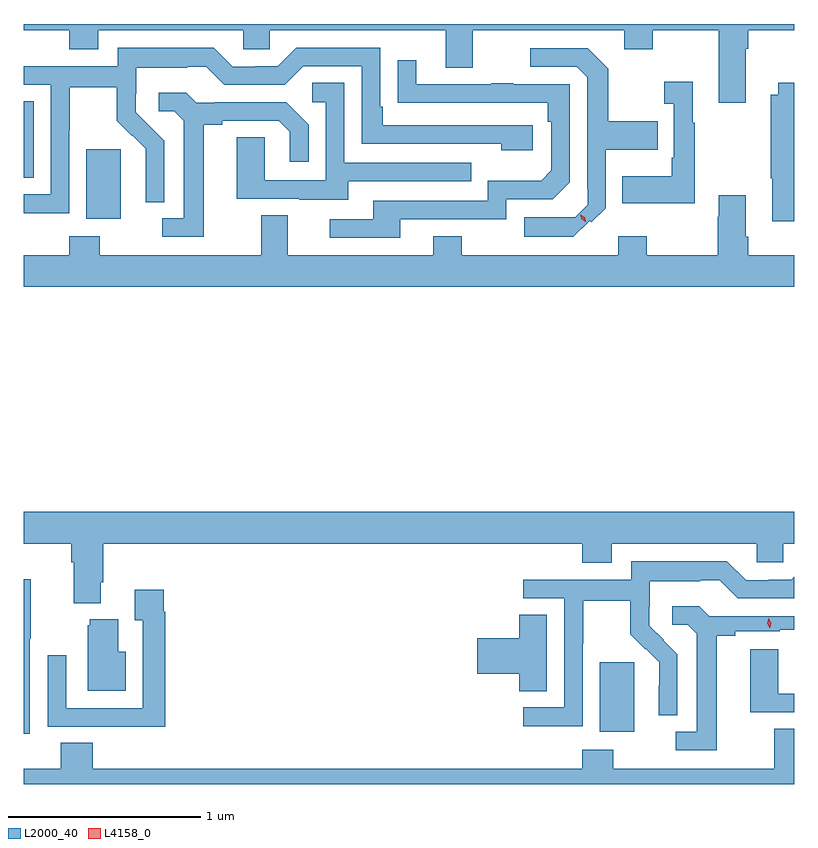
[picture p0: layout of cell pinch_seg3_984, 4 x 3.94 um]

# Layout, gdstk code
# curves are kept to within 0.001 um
import gdstk
lib = gdstk.Library(unit=1e-6, precision=1e-09)
def R(c, l, rs):  # rectangles x0, y0, x1, y1
    for r in rs: c.add(gdstk.rectangle(r[:2], r[2:], *l))
def P(c, l, *ps):  # polygons
    for p in ps: c.add(gdstk.Polygon(p, *l))
L2000_40 = (2000, 40)
L4158_0 = (4158, 0)

pinch_seg3_984 = lib.new_cell('pinch_seg3_984')
R(pinch_seg3_984, L2000_40, [(508.757,745.226,508.936,745.587), (506.093,747.89,506.272,748.251), (505.767,748.102,505.819,748.499)])
P(pinch_seg3_984, L2000_40, [(505.767,748.868),(506.003,748.868),(506.003,748.769),(506.155,748.769),(506.155,748.868),(506.907,748.868),(506.907,748.77),(507.045,748.77),(507.045,748.868),(507.959,748.868),(507.959,748.674),(508.099,748.674),(508.099,748.868),(508.883,748.868),(508.883,748.769),(509.031,748.769),(509.031,748.868),(509.375,748.868),(509.375,748.491),(509.515,748.491),(509.515,748.772),(509.528,748.772),(509.528,748.868),(509.767,748.868),(509.767,748.9),(505.767,748.9)],
  [(506.004,748.348),(506.007,748.348),(506.007,748.572),(506.251,748.572),(506.251,748.397),(506.328,748.32),(506.331,748.323),(506.402,748.253),(506.402,748.13),(506.4,748.13),(506.4,747.976),(506.496,747.976),(506.496,748.294),(506.35,748.442),(506.35,748.539),(506.352,748.539),(506.352,748.673),(506.615,748.673),(506.615,748.677),(506.715,748.677),(506.808,748.584),(507.123,748.584),(507.219,748.68),(507.522,748.68),(507.522,748.278),(508.247,748.278),(508.247,748.244),(508.408,748.244),(508.408,748.374),(507.631,748.374),(507.631,748.471),(507.618,748.471),(507.618,748.776),(507.183,748.776),(507.087,748.68),(506.969,748.68),(506.969,748.677),(506.853,748.677),(506.753,748.777),(506.256,748.777),(506.256,748.68),(505.767,748.68),(505.767,748.584),(505.908,748.584),(505.908,748.017),(505.767,748.017),(505.767,747.919),(506.004,747.919)],
  [(508.704,747.879),(508.713,747.87),(508.788,747.945),(508.788,748.247),(509.057,748.247),(509.057,748.395),(508.801,748.395),(508.801,748.667),(508.695,748.773),(508.395,748.773),(508.395,748.677),(508.638,748.677),(508.692,748.623),(508.692,748.045),(508.695,748.045),(508.695,747.963),(508.629,747.897),(508.365,747.897),(508.365,747.795),(508.62,747.795)],
  [(507.721,747.888),(508.272,747.888),(508.272,747.99),(508.512,747.99),(508.602,748.08),(508.602,748.587),(508.307,748.587),(508.307,748.592),(508.195,748.592),(508.195,748.587),(507.805,748.587),(507.805,748.711),(507.709,748.711),(507.709,748.492),(508.486,748.491),(508.486,748.394),(508.506,748.394),(508.506,748.14),(508.453,748.087),(508.176,748.087),(508.176,747.984),(507.581,747.984),(507.581,747.888),(507.357,747.888),(507.357,747.792),(507.721,747.792)],
  [(509.251,748.387),(509.239,748.387),(509.239,748.6),(509.091,748.6),(509.091,748.487),(509.142,748.487),(509.142,748.207),(509.13,748.207),(509.13,748.111),(508.873,748.111),(508.873,747.971),(509.251,747.971)],
  [(507.451,748.083),(508.091,748.083),(508.091,748.179),(507.432,748.179),(507.432,748.595),(507.264,748.595),(507.264,748.494),(507.336,748.494),(507.336,748.089),(507.018,748.089),(507.018,748.313),(506.873,748.313),(506.873,747.993),(507.197,747.993),(507.197,747.989),(507.451,747.989)],
  [(509.767,748.594),(509.684,748.594),(509.684,748.534),(509.644,748.534),(509.644,748.099),(509.651,748.099),(509.651,747.876),(509.767,747.876)],
  [(506.701,748.376),(506.797,748.376),(506.797,748.398),(507.092,748.398),(507.149,748.341),(507.149,748.185),(507.246,748.185),(507.246,748.378),(507.13,748.494),(506.758,748.494),(506.758,748.491),(506.664,748.491),(506.612,748.543),(506.469,748.543),(506.469,748.446),(506.55,748.446),(506.597,748.399),(506.597,747.891),(506.487,747.891),(506.487,747.795),(506.701,747.795)],
  [(509.767,747.7),(509.528,747.7),(509.528,747.796),(509.515,747.796),(509.515,748.012),(509.375,748.012),(509.375,747.899),(509.368,747.899),(509.368,747.7),(509.001,747.7),(509.001,747.799),(508.853,747.799),(508.853,747.7),(508.041,747.7),(508.041,747.799),(507.893,747.799),(507.893,747.7),(507.139,747.7),(507.139,747.908),(506.999,747.908),(506.999,747.7),(506.163,747.7),(506.163,747.799),(506.003,747.799),(506.003,747.7),(505.767,747.7),(505.767,747.536),(509.767,747.536)],
  [(506.167,746.002),(506.18,746.002),(506.18,746.204),(508.667,746.204),(508.667,746.105),(508.819,746.105),(508.819,746.204),(509.571,746.204),(509.571,746.106),(509.709,746.106),(509.709,746.204),(509.767,746.204),(509.767,746.368),(505.767,746.368),(505.767,746.204),(506.015,746.204),(506.015,746.108),(506.027,746.108),(506.027,745.895),(506.167,745.895)],
  [(508.668,745.684),(508.671,745.684),(508.671,745.908),(508.915,745.908),(508.915,745.733),(508.992,745.656),(508.995,745.659),(509.066,745.589),(509.066,745.466),(509.064,745.466),(509.064,745.312),(509.16,745.312),(509.16,745.63),(509.014,745.778),(509.014,745.875),(509.016,745.875),(509.016,746.009),(509.279,746.009),(509.279,746.013),(509.379,746.013),(509.472,745.92),(509.767,745.92),(509.767,746.032),(509.751,746.016),(509.633,746.016),(509.633,746.013),(509.517,746.013),(509.417,746.113),(508.92,746.113),(508.92,746.016),(508.359,746.016),(508.359,745.92),(508.572,745.92),(508.572,745.353),(508.359,745.353),(508.359,745.255),(508.668,745.255)],
  [(505.8,745.711),(505.803,745.711),(505.803,746.018),(505.767,746.018),(505.767,745.218),(505.8,745.218)],
  [(506.501,745.85),(506.494,745.85),(506.494,745.963),(506.345,745.963),(506.345,745.807),(506.385,745.807),(506.385,745.35),(505.989,745.35),(505.989,745.624),(505.893,745.624),(505.893,745.254),(506.209,745.254),(506.209,745.253),(506.501,745.253)],
  [(509.365,745.725),(509.461,745.725),(509.461,745.749),(509.691,745.749),(509.691,745.757),(509.767,745.757),(509.767,745.827),(509.326,745.827),(509.274,745.879),(509.133,745.879),(509.133,745.782),(509.214,745.782),(509.261,745.735),(509.261,745.227),(509.151,745.227),(509.151,745.131),(509.365,745.131)],
  [(508.483,745.835),(508.34,745.835),(508.34,745.712),(508.122,745.712),(508.122,745.529),(508.34,745.529),(508.34,745.438),(508.483,745.438)],
  [(506.296,745.642),(506.257,745.642),(506.257,745.81),(506.111,745.81),(506.111,745.779),(506.099,745.779),(506.099,745.439),(506.296,745.439)],
  [(509.767,745.425),(509.683,745.425),(509.683,745.654),(509.537,745.654),(509.537,745.329),(509.767,745.329)],
  [(509.767,745.244),(509.663,745.244),(509.663,745.036),(508.827,745.036),(508.827,745.135),(508.667,745.135),(508.667,745.036),(506.126,745.036),(506.126,745.169),(505.961,745.169),(505.961,745.036),(505.767,745.036),(505.767,744.956),(509.767,744.956)])
P(pinch_seg3_984, L4158_0, [(509.64,745.764),(509.64,745.764),(509.627,745.789),(509.634,745.816),(509.634,745.817),(509.634,745.816),(509.647,745.791),(509.64,745.764)],
  [(508.685,747.874),(508.663,747.886),(508.656,747.911),(508.656,747.911),(508.656,747.911),(508.679,747.898),(508.685,747.874),(508.685,747.874)])

lib.write_gds('pinch_seg3_984.gds')
